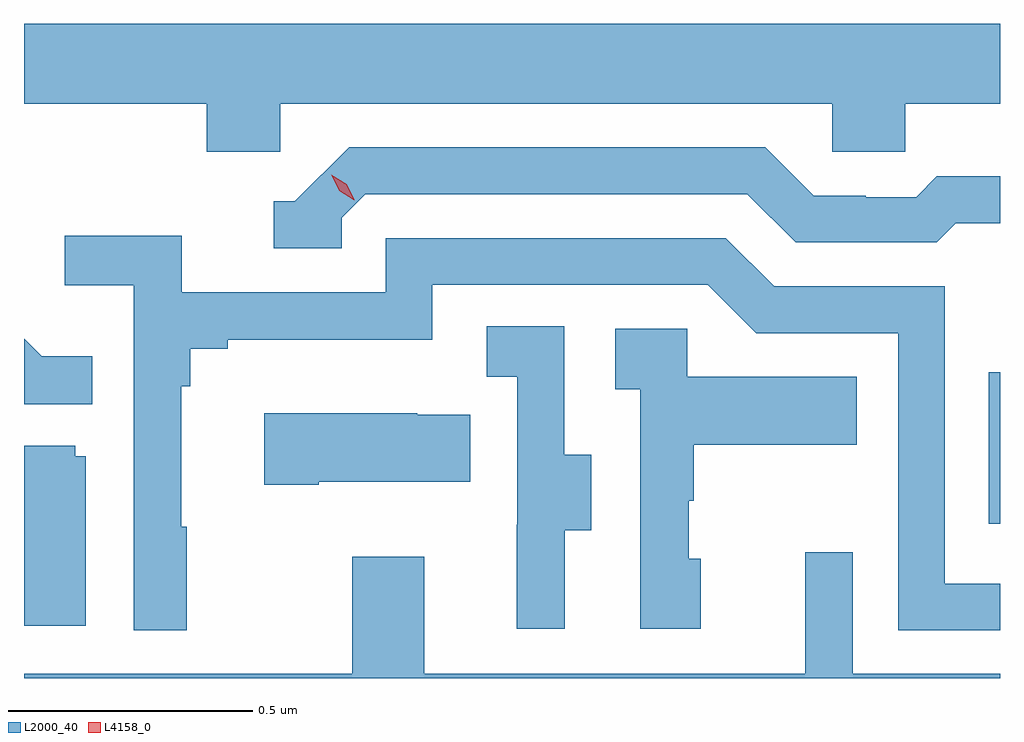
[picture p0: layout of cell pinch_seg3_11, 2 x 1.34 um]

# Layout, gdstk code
import gdstk
lib = gdstk.Library(unit=1e-6, precision=1e-09)
def R(c, l, rs):  # rectangles x0, y0, x1, y1
    for r in rs: c.add(gdstk.rectangle(r[:2], r[2:], *l))
def P(c, l, *ps):  # polygons
    for p in ps: c.add(gdstk.Polygon(p, *l))
L2000_40 = (2000, 40)
L4158_0 = (4158, 0)

pinch_seg3_11 = lib.new_cell('pinch_seg3_11')
R(pinch_seg3_11, L2000_40, [(1144.374,740.016,1144.397,740.326)])
P(pinch_seg3_11, L2000_40, [(1142.922,740.876),(1144.053,740.876),(1144.053,740.778),(1144.203,740.778),(1144.203,740.876),(1144.397,740.876),(1144.397,741.04),(1142.397,741.04),(1142.397,740.876),(1142.771,740.876),(1142.771,740.778),(1142.922,740.778)],
  [(1143.048,740.643),(1143.096,740.691),(1143.879,740.691),(1143.978,740.592),(1144.267,740.592),(1144.306,740.631),(1144.397,740.631),(1144.397,740.728),(1144.267,740.728),(1144.225,740.685),(1144.122,740.685),(1144.122,740.688),(1144.015,740.688),(1143.916,740.787),(1143.063,740.787),(1142.952,740.676),(1142.909,740.676),(1142.909,740.58),(1143.048,740.58)],
  [(1142.731,740.009),(1142.719,740.009),(1142.719,740.297),(1142.738,740.297),(1142.738,740.374),(1142.815,740.374),(1142.815,740.393),(1143.234,740.393),(1143.234,740.505),(1143.798,740.505),(1143.897,740.406),(1144.188,740.406),(1144.188,739.797),(1144.397,739.797),(1144.397,739.893),(1144.284,739.893),(1144.284,740.502),(1143.934,740.502),(1143.835,740.601),(1143.138,740.601),(1143.138,740.49),(1142.72,740.49),(1142.72,740.606),(1142.481,740.606),(1142.481,740.504),(1142.622,740.504),(1142.622,739.797),(1142.731,739.797)],
  [(1143.505,740.002),(1143.559,740.002),(1143.559,740.157),(1143.504,740.157),(1143.504,740.42),(1143.345,740.42),(1143.345,740.317),(1143.408,740.317),(1143.408,740.013),(1143.407,740.013),(1143.407,739.8),(1143.505,739.8)],
  [(1143.784,739.944),(1143.759,739.944),(1143.759,740.063),(1143.769,740.063),(1143.769,740.177),(1144.103,740.177),(1144.103,740.317),(1143.756,740.317),(1143.756,740.415),(1143.609,740.415),(1143.609,740.291),(1143.66,740.291),(1143.66,739.8),(1143.784,739.8)],
  [(1142.537,740.359),(1142.433,740.359),(1142.397,740.395),(1142.397,740.26),(1142.537,740.26)],
  [(1143.001,740.102),(1143.311,740.102),(1143.311,740.239),(1143.203,740.239),(1143.203,740.242),(1142.889,740.242),(1142.889,740.095),(1143.001,740.095)],
  [(1142.524,740.154),(1142.502,740.154),(1142.502,740.175),(1142.397,740.175),(1142.397,739.806),(1142.524,739.806)],
  [(1144.397,739.708),(1144.095,739.708),(1144.095,739.957),(1143.998,739.957),(1143.998,739.708),(1143.217,739.708),(1143.217,739.948),(1143.07,739.948),(1143.07,739.708),(1142.397,739.708),(1142.397,739.699),(1144.397,739.699)])
P(pinch_seg3_11, L4158_0, [(1143.074,740.678),(1143.043,740.698),(1143.027,740.731),(1143.027,740.731),(1143.027,740.731),(1143.058,740.711),(1143.074,740.679),(1143.074,740.678)])

lib.write_gds('pinch_seg3_11.gds')
